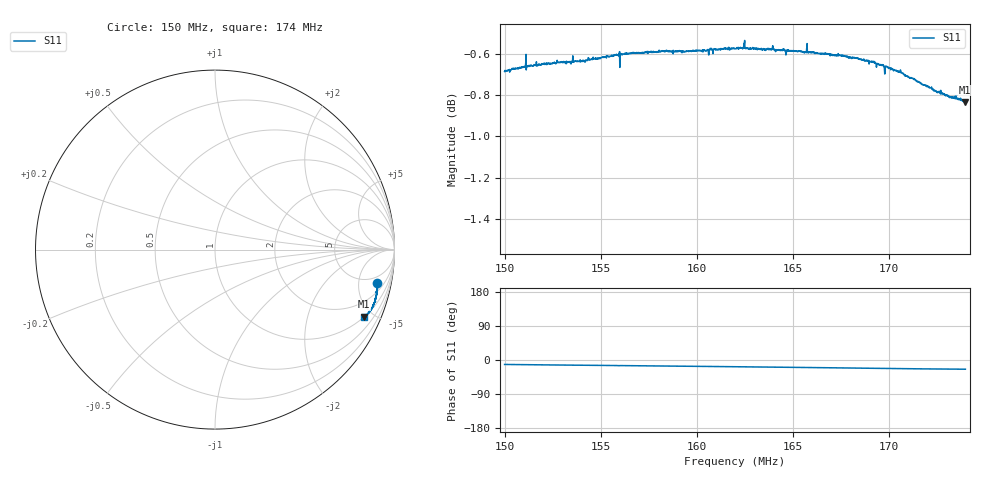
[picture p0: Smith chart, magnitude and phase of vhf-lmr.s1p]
! Calibrated averaged scanner-service zoom
# Hz S RI R 50
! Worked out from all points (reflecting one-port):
!   2001 points, 150 MHz to 174 MHz, reference 50 ohm
!   lowest |S11| = -0.8 dB at 174 MHz (marker M1), VSWR 20.89, Z = 51.3 - j220 ohm
!   phase of S11 starts at -12 deg and turns -13 deg over the sweep
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1.5e8  0.9048 -0.1883
1.50996e8  0.9054 -0.1974
1.53e8  0.9039 -0.2144
1.53792e8  0.9029 -0.2202
1.5426e8  0.9027 -0.2234
1.54512e8  0.9029 -0.2256
1.55868e8  0.9025 -0.236
1.56e8  0.8947 -0.24
1.56636e8  0.9019 -0.2424
1.59e8  0.8973 -0.2614
1.60608e8  0.8943 -0.2727
1.60896e8  0.8942 -0.2765
1.62e8  0.8916 -0.2853
1.62384e8  0.8909 -0.2891
1.62648e8  0.8899 -0.2909
1.63896e8  0.8856 -0.3013
1.65e8  0.8818 -0.3104
1.656e8  0.8794 -0.3157
1.65852e8  0.8784 -0.3178
1.67496e8  0.8717 -0.3314
1.68e8  0.8691 -0.3358
1.69212e8  0.862 -0.3465
1.70532e8  0.8522 -0.3569
1.71e8  0.8483 -0.36
1.71564e8  0.8442 -0.3634
1.7244e8  0.8372 -0.3673
1.73988e8  0.8278 -0.3746
1.74e8  0.8281 -0.3746
